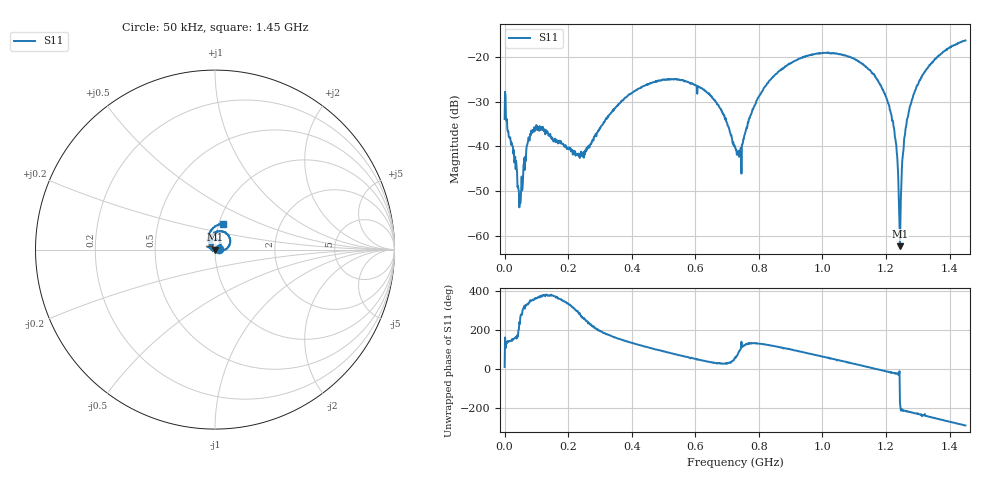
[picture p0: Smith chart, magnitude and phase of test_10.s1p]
! Created with skrf 1.11.0 (http://scikit-rf.org).
# Hz S RI R 50.0
!freq ReS11 ImS11
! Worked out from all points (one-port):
!   1001 points, 50 kHz to 1.45 GHz, reference 50 ohm
!   lowest |S11| = -62.3 dB at 1.244 GHz (marker M1), VSWR 1.00, Z = 49.9 - j0.0132 ohm
!   |S11| at or under -10 dB: start of sweep to end of sweep
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50000  0.0199 0.00374
3.049895e7  -0.00609 0.0026
4.789835e7  -0.00189 -0.00226
7.54474e7  0.0116 -0.00513
9.429675e7  0.0147 -0.000358
1.812938e8  0.0105 -0.00181
2.494414e8  -0.00178 -0.00728
3.625375e8  -0.0269 0.0138
5.437812e8  0.0166 0.0539
6.539774e8  0.0294 0.0192
6.902262e8  0.0195 0.0103
7.25025e8  0.00515 0.00857
7.409744e8  -0.00114 0.00875
7.757732e8  -0.0153 0.0168
8.207217e8  -0.0273 0.0385
9.062688e8  -0.0119 0.0866
1.087512e9  0.0838 0.0528
1.15566e9  0.0656 0.00595
1.203508e9  0.0324 -0.00713
1.228158e9  0.0119 -0.00448
1.238307e9  0.00443 -0.00234
1.244107e9  -0.000759 -0.000132
1.248457e9  -0.00322 0.00175
1.258607e9  -0.0109 0.0069
1.268756e9  -0.0166 0.0132
1.293405e9  -0.0298 0.031
1.331104e9  -0.0361 0.0659
1.45e9  0.0464 0.145
